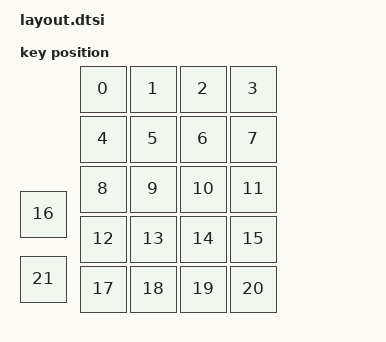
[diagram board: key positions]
/ {
    default: default {
        compatible = "zmk,physical-layout";
        display-name = "Default";

        keys  //                     w   h    x    y     rot    rx    ry
            = <&key_physical_attrs 100 100  120    0       0     0     0>
            , <&key_physical_attrs 100 100  220    0       0     0     0>
            , <&key_physical_attrs 100 100  320    0       0     0     0>
            , <&key_physical_attrs 100 100  420    0       0     0     0>
            , <&key_physical_attrs 100 100  120  100       0     0     0>
            , <&key_physical_attrs 100 100  220  100       0     0     0>
            , <&key_physical_attrs 100 100  320  100       0     0     0>
            , <&key_physical_attrs 100 100  420  100       0     0     0>
            , <&key_physical_attrs 100 100  120  200       0     0     0>
            , <&key_physical_attrs 100 100  220  200       0     0     0>
            , <&key_physical_attrs 100 100  320  200       0     0     0>
            , <&key_physical_attrs 100 100  420  200       0     0     0>
            , <&key_physical_attrs 100 100  120  300       0     0     0>
            , <&key_physical_attrs 100 100  220  300       0     0     0>
            , <&key_physical_attrs 100 100  320  300       0     0     0>
            , <&key_physical_attrs 100 100  420  300       0     0     0>
            , <&key_physical_attrs 100 100    0  250       0     0     0>
            , <&key_physical_attrs 100 100  120  400       0     0     0>
            , <&key_physical_attrs 100 100  220  400       0     0     0>
            , <&key_physical_attrs 100 100  320  400       0     0     0>
            , <&key_physical_attrs 100 100  420  400       0     0     0>
            , <&key_physical_attrs 100 100    0  380       0     0     0>
            ;
    };

    position_map {
        compatible = "zmk,physical-layout-position-map";

        default {
            physical-layout = <&default>;
            positions = <>;
        };
    };
};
